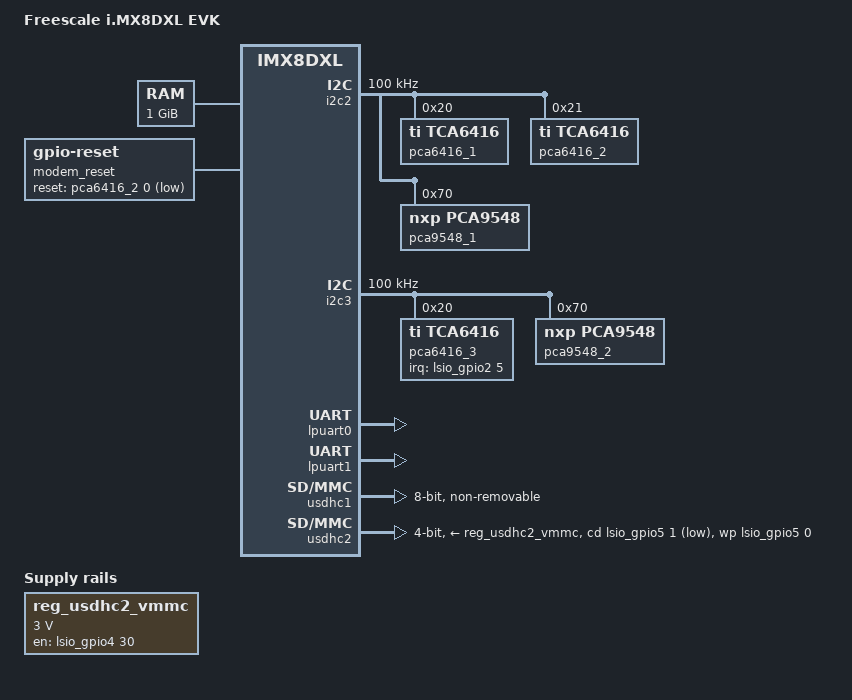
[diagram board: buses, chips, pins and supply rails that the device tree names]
// SPDX-License-Identifier: GPL-2.0+
/*
 * Copyright 2019~2020 NXP
 */

/dts-v1/;

#include "imx8dxl.dtsi"

/ {
	model = "Freescale i.MX8DXL EVK";
	compatible = "fsl,imx8dxl-evk", "fsl,imx8dxl";

	chosen {
		stdout-path = &lpuart0;
	};

	memory@80000000 {
		device_type = "memory";
		reg = <0x00000000 0x80000000 0 0x40000000>;
	};

	reserved-memory {
		#address-cells = <2>;
		#size-cells = <2>;
		ranges;

		rpmsg_reserved: rpmsg@0x90200000 {
			no-map;
			reg = <0 0x90200000 0 0x200000>;
		};

		/* global autoconfigured region for contiguous allocations */
		linux,cma {
			compatible = "shared-dma-pool";
			reusable;
			size = <0 0x14000000>;
			alloc-ranges = <0 0x98000000 0 0x14000000>;
			linux,cma-default;
		};
	};

	modem_reset: modem-reset {
		compatible = "gpio-reset";
		reset-gpios = <&pca6416_2 0 GPIO_ACTIVE_LOW>;
		reset-delay-us = <2000>;
		reset-post-delay-ms = <40>;
		#reset-cells = <0>;
	};

	reg_usdhc2_vmmc: usdhc2-vmmc {
		compatible = "regulator-fixed";
		regulator-name = "SD1_SPWR";
		regulator-min-microvolt = <3000000>;
		regulator-max-microvolt = <3000000>;
		gpio = <&lsio_gpio4 30 GPIO_ACTIVE_HIGH>;
		enable-active-high;
		off-on-delay-us = <3480>;
	};
};

&edma2 {
	status = "okay";
};

&i2c2 {
	#address-cells = <1>;
	#size-cells = <0>;
	clock-frequency = <100000>;
	pinctrl-names = "default";
	pinctrl-0 = <&pinctrl_i2c2>;
	status = "okay";

	pca6416_1: gpio@20 {
		compatible = "ti,tca6416";
		reg = <0x20>;
		gpio-controller;
		#gpio-cells = <2>;
	};

	pca6416_2: gpio@21 {
		compatible = "ti,tca6416";
		reg = <0x21>;
		gpio-controller;
		#gpio-cells = <2>;
	};

	pca9548_1: pca9548@70 {
		compatible = "nxp,pca9548";
		#address-cells = <1>;
		#size-cells = <0>;
		reg = <0x70>;

		i2c@0 {
			#address-cells = <1>;
			#size-cells = <0>;
			reg = <0x0>;

			max7322: gpio@68 {
				compatible = "maxim,max7322";
				reg = <0x68>;
				gpio-controller;
				#gpio-cells = <2>;
				status = "disabled";
			};
		};

		i2c@4 {
			#address-cells = <1>;
			#size-cells = <0>;
			reg = <0x4>;
		};

		i2c@5 {
			#address-cells = <1>;
			#size-cells = <0>;
			reg = <0x5>;
		};

		i2c@6 {
			#address-cells = <1>;
			#size-cells = <0>;
			reg = <0x6>;
		};
	};
};

&i2c3 {
	#address-cells = <1>;
	#size-cells = <0>;
	clock-frequency = <100000>;
	pinctrl-names = "default";
	pinctrl-0 = <&pinctrl_i2c3>;
	status = "okay";

	pca6416_3: gpio@20 {
		compatible = "ti,tca6416";
		reg = <0x20>;
		gpio-controller;
		#gpio-cells = <2>;
		interrupt-parent = <&lsio_gpio2>;
		interrupts = <5 IRQ_TYPE_EDGE_RISING>;
	};

	pca9548_2: pca9548@70 {
		compatible = "nxp,pca9548";
		#address-cells = <1>;
		#size-cells = <0>;
		reg = <0x70>;

		i2c@0 {
			#address-cells = <1>;
			#size-cells = <0>;
			reg = <0x0>;
		};

		i2c@1 {
			#address-cells = <1>;
			#size-cells = <0>;
			reg = <0x1>;
		};

		i2c@2 {
			#address-cells = <1>;
			#size-cells = <0>;
			reg = <0x2>;
		};

		i2c@3 {
			#address-cells = <1>;
			#size-cells = <0>;
			reg = <0x3>;
		};

		i2c@4 {
			#address-cells = <1>;
			#size-cells = <0>;
			reg = <0x4>;
		};
	};
};

&lpuart0 {
	pinctrl-names = "default";
	pinctrl-0 = <&pinctrl_lpuart0>;
	status = "okay";
};

&lpuart1 {
	pinctrl-names = "default";
	pinctrl-0 = <&pinctrl_lpuart1>;
	resets = <&modem_reset>;
	status = "okay";
};

&lsio_gpio4 {
	status = "okay";
};

&lsio_gpio5 {
	status = "okay";
};

&thermal_zones {
	pmic-thermal0 {
		polling-delay-passive = <250>;
		polling-delay = <2000>;
		thermal-sensors = <&tsens IMX_SC_R_PMIC_0>;
		trips {
			pmic_alert0: trip0 {
				temperature = <110000>;
				hysteresis = <2000>;
				type = "passive";
			};
			pmic_crit0: trip1 {
				temperature = <125000>;
				hysteresis = <2000>;
				type = "critical";
			};
		};
		cooling-maps {
			map0 {
				trip = <&pmic_alert0>;
				cooling-device =
					<&A35_0 THERMAL_NO_LIMIT THERMAL_NO_LIMIT>,
					<&A35_1 THERMAL_NO_LIMIT THERMAL_NO_LIMIT>;
			};
		};
	};
};

&usdhc1 {
		pinctrl-names = "default", "state_100mhz", "state_200mhz";
		pinctrl-0 = <&pinctrl_usdhc1>;
		pinctrl-1 = <&pinctrl_usdhc1_100mhz>;
		pinctrl-2 = <&pinctrl_usdhc1_200mhz>;
		bus-width = <8>;
		no-sd;
		no-sdio;
		non-removable;
		status = "okay";
};

&usdhc2 {
		pinctrl-names = "default", "state_100mhz", "state_200mhz";
		pinctrl-0 = <&pinctrl_usdhc2>, <&pinctrl_usdhc2_gpio>;
		pinctrl-1 = <&pinctrl_usdhc2_100mhz>, <&pinctrl_usdhc2_gpio>;
		pinctrl-2 = <&pinctrl_usdhc2_200mhz>, <&pinctrl_usdhc2_gpio>;
		bus-width = <4>;
		vmmc-supply = <&reg_usdhc2_vmmc>;
		cd-gpios = <&lsio_gpio5 1 GPIO_ACTIVE_LOW>;
		wp-gpios = <&lsio_gpio5 0 GPIO_ACTIVE_HIGH>;
		max-frequency = <100000000>;
		status = "okay";
};

&iomuxc {
	pinctrl-names = "default";
	pinctrl-0 = <&pinctrl_hog>;

	pinctrl_hog: hoggrp {
		fsl,pins = <
			IMX8DXL_COMP_CTL_GPIO_1V8_3V3_GPIORHB_PAD	0x000514a0
			IMX8DXL_COMP_CTL_GPIO_1V8_3V3_GPIORHK_PAD	0x000014a0
			IMX8DXL_SPI3_CS0_ADMA_ACM_MCLK_OUT1		0x0600004c
			IMX8DXL_SNVS_TAMPER_OUT1_LSIO_GPIO2_IO05_IN	0x0600004c
		>;
	};

	pinctrl_i2c2: i2c2grp {
		fsl,pins = <
			IMX8DXL_SPI1_SCK_ADMA_I2C2_SDA		0x06000021
			IMX8DXL_SPI1_SDO_ADMA_I2C2_SCL		0x06000021
		>;
	};

	pinctrl_i2c3: i2c3grp {
		fsl,pins = <
			IMX8DXL_SPI1_CS0_ADMA_I2C3_SDA		0x06000021
			IMX8DXL_SPI1_SDI_ADMA_I2C3_SCL		0x06000021
		>;
	};

	pinctrl_lpuart0: lpuart0grp {
		fsl,pins = <
			IMX8DXL_UART0_RX_ADMA_UART0_RX		0x06000020
			IMX8DXL_UART0_TX_ADMA_UART0_TX		0x06000020
		>;
	};

	pinctrl_lpuart1: lpuart1grp {
		fsl,pins = <
			IMX8DXL_UART1_TX_ADMA_UART1_TX          0x06000020
			IMX8DXL_UART1_RX_ADMA_UART1_RX          0x06000020
			IMX8DXL_UART1_RTS_B_ADMA_UART1_RTS_B    0x06000020
			IMX8DXL_UART1_CTS_B_ADMA_UART1_CTS_B    0x06000020
		>;
	};

	pinctrl_usdhc1: usdhc1grp {
		fsl,pins = <
			IMX8DXL_EMMC0_CLK_CONN_EMMC0_CLK	0x06000041
			IMX8DXL_EMMC0_CMD_CONN_EMMC0_CMD	0x00000021
			IMX8DXL_EMMC0_DATA0_CONN_EMMC0_DATA0	0x00000021
			IMX8DXL_EMMC0_DATA1_CONN_EMMC0_DATA1	0x00000021
			IMX8DXL_EMMC0_DATA2_CONN_EMMC0_DATA2	0x00000021
			IMX8DXL_EMMC0_DATA3_CONN_EMMC0_DATA3	0x00000021
			IMX8DXL_EMMC0_DATA4_CONN_EMMC0_DATA4	0x00000021
			IMX8DXL_EMMC0_DATA5_CONN_EMMC0_DATA5	0x00000021
			IMX8DXL_EMMC0_DATA6_CONN_EMMC0_DATA6	0x00000021
			IMX8DXL_EMMC0_DATA7_CONN_EMMC0_DATA7	0x00000021
			IMX8DXL_EMMC0_STROBE_CONN_EMMC0_STROBE	0x00000041
		>;
	};

	pinctrl_usdhc1_100mhz: usdhc1grp100mhz {
		fsl,pins = <
			IMX8DXL_EMMC0_CLK_CONN_EMMC0_CLK	0x06000041
			IMX8DXL_EMMC0_CMD_CONN_EMMC0_CMD	0x00000021
			IMX8DXL_EMMC0_DATA0_CONN_EMMC0_DATA0	0x00000021
			IMX8DXL_EMMC0_DATA1_CONN_EMMC0_DATA1	0x00000021
			IMX8DXL_EMMC0_DATA2_CONN_EMMC0_DATA2	0x00000021
			IMX8DXL_EMMC0_DATA3_CONN_EMMC0_DATA3	0x00000021
			IMX8DXL_EMMC0_DATA4_CONN_EMMC0_DATA4	0x00000021
			IMX8DXL_EMMC0_DATA5_CONN_EMMC0_DATA5	0x00000021
			IMX8DXL_EMMC0_DATA6_CONN_EMMC0_DATA6	0x00000021
			IMX8DXL_EMMC0_DATA7_CONN_EMMC0_DATA7	0x00000021
			IMX8DXL_EMMC0_STROBE_CONN_EMMC0_STROBE	0x00000041
		>;
	};

	pinctrl_usdhc1_200mhz: usdhc1grp200mhz {
		fsl,pins = <
			IMX8DXL_EMMC0_CLK_CONN_EMMC0_CLK	0x06000041
			IMX8DXL_EMMC0_CMD_CONN_EMMC0_CMD	0x00000021
			IMX8DXL_EMMC0_DATA0_CONN_EMMC0_DATA0	0x00000021
			IMX8DXL_EMMC0_DATA1_CONN_EMMC0_DATA1	0x00000021
			IMX8DXL_EMMC0_DATA2_CONN_EMMC0_DATA2	0x00000021
			IMX8DXL_EMMC0_DATA3_CONN_EMMC0_DATA3	0x00000021
			IMX8DXL_EMMC0_DATA4_CONN_EMMC0_DATA4	0x00000021
			IMX8DXL_EMMC0_DATA5_CONN_EMMC0_DATA5	0x00000021
			IMX8DXL_EMMC0_DATA6_CONN_EMMC0_DATA6	0x00000021
			IMX8DXL_EMMC0_DATA7_CONN_EMMC0_DATA7	0x00000021
			IMX8DXL_EMMC0_STROBE_CONN_EMMC0_STROBE	0x00000041
		>;
	};

	pinctrl_usdhc2_gpio: usdhc2gpiogrp {
		fsl,pins = <
			IMX8DXL_ENET0_RGMII_TX_CTL_LSIO_GPIO4_IO30	0x00000040 /* RESET_B */
			IMX8DXL_ENET0_RGMII_TXD1_LSIO_GPIO5_IO00	0x00000021 /* WP */
			IMX8DXL_ENET0_RGMII_TXD2_LSIO_GPIO5_IO01	0x00000021 /* CD */
		>;
	};

	pinctrl_usdhc2: usdhc2grp {
		fsl,pins = <
			IMX8DXL_ENET0_RGMII_RXC_CONN_USDHC1_CLK		0x06000041
			IMX8DXL_ENET0_RGMII_RX_CTL_CONN_USDHC1_CMD	0x00000021
			IMX8DXL_ENET0_RGMII_RXD0_CONN_USDHC1_DATA0	0x00000021
			IMX8DXL_ENET0_RGMII_RXD1_CONN_USDHC1_DATA1	0x00000021
			IMX8DXL_ENET0_RGMII_RXD2_CONN_USDHC1_DATA2	0x00000021
			IMX8DXL_ENET0_RGMII_RXD3_CONN_USDHC1_DATA3	0x00000021
			IMX8DXL_ENET0_RGMII_TXD0_CONN_USDHC1_VSELECT	0x00000021
		>;
	};

	pinctrl_usdhc2_100mhz: usdhc2grp100mhz {
		fsl,pins = <
			IMX8DXL_ENET0_RGMII_RXC_CONN_USDHC1_CLK		0x06000041
			IMX8DXL_ENET0_RGMII_RX_CTL_CONN_USDHC1_CMD	0x00000021
			IMX8DXL_ENET0_RGMII_RXD0_CONN_USDHC1_DATA0	0x00000021
			IMX8DXL_ENET0_RGMII_RXD1_CONN_USDHC1_DATA1	0x00000021
			IMX8DXL_ENET0_RGMII_RXD2_CONN_USDHC1_DATA2	0x00000021
			IMX8DXL_ENET0_RGMII_RXD3_CONN_USDHC1_DATA3	0x00000021
			IMX8DXL_ENET0_RGMII_TXD0_CONN_USDHC1_VSELECT	0x00000021
		>;
	};

	pinctrl_usdhc2_200mhz: usdhc2grp200mhz {
		fsl,pins = <
			IMX8DXL_ENET0_RGMII_RXC_CONN_USDHC1_CLK		0x06000041
			IMX8DXL_ENET0_RGMII_RX_CTL_CONN_USDHC1_CMD	0x00000021
			IMX8DXL_ENET0_RGMII_RXD0_CONN_USDHC1_DATA0	0x00000021
			IMX8DXL_ENET0_RGMII_RXD1_CONN_USDHC1_DATA1	0x00000021
			IMX8DXL_ENET0_RGMII_RXD2_CONN_USDHC1_DATA2	0x00000021
			IMX8DXL_ENET0_RGMII_RXD3_CONN_USDHC1_DATA3	0x00000021
			IMX8DXL_ENET0_RGMII_TXD0_CONN_USDHC1_VSELECT	0x00000021
		>;
	};
};
